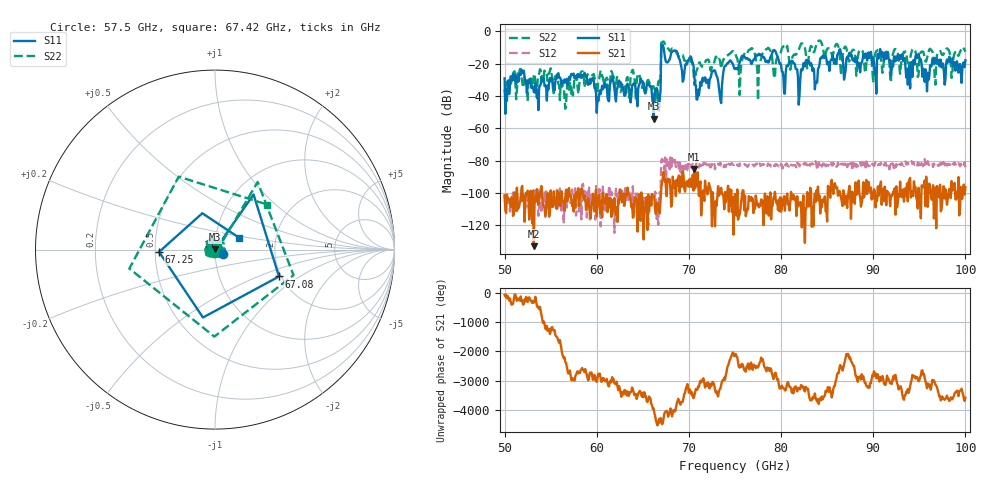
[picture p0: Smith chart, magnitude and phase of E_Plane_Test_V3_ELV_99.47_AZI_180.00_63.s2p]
! 11/26/2026 4:41:41 PM
! C:\ANRITSUVNA\TEMP\TEMP.S2P
! CHANNEL.1
! TR.MEASUREMENT
! RAW.DATA
# HZ S RI R 50.0
! FREQ.HZ  S11RE  S11IM  S21RE  S21IM  S12RE  S12IM  S22RE  S22IM
!; PortSelection: Port_12
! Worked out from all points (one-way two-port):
!   601 points, 50 GHz to 100 GHz, reference 50 ohm
!   highest |S21| = -85.26 dB at 70.58 GHz (marker M1); lowest = -133.0 dB at 53.17 GHz (marker M2)
!   lowest |S11| = -54.1 dB at 66.17 GHz (marker M3), VSWR 1.00, Z = 50.1 + j0.144 ohm
!   |S11| at or under -10 dB: start of sweep to 67 GHz; 67.24 GHz to end of sweep
!   |S22| runs from -47.8 to -5.6 dB; largest |S21 - S12| = 0.00015
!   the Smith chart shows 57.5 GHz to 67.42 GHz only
!   S11 on the Smith chart (normalised r, x): 57.5 GHz: 1.09, -0.05; 67.08 GHz: 1.95, -0.69; 67.25 GHz: 0.52, -0.01; 67.42 GHz: 1.29, +0.18
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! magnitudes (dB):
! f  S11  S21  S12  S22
! 50 GHz  -29.0  -101.5  -101.7  -35.8
! 53.17 GHz  -37.5  -133.0  -98.3  -27.5
! 57.5 GHz  -26.2  -111.6  -108.6  -34.7
! 58.42 GHz  -27.1  -97.7  -95.1  -24.7
! 60.17 GHz  -43.1  -103.0  -109.6  -30.4
! 66.17 GHz  -54.1  -101.9  -104.8  -34.0
! 66.67 GHz  -41.4  -111.0  -119.8  -31.6
! 67.08 GHz  -8.3  -93.7  -78.9  -6.7
! 67.25 GHz  -10.1  -87.0  -81.7  -6.2
! 67.42 GHz  -16.6  -93.3  -78.1  -8.3
! 70.58 GHz  -27.3  -85.3  -82.3  -32.9
! 73.42 GHz  -42.3  -97.6  -81.3  -19.7
! 74.08 GHz  -20.4  -103.0  -82.4  -14.9
! 75 GHz  -23.3  -100.7  -81.7  -13.0
! 79.25 GHz  -11.5  -102.7  -83.5  -28.9
! 80.25 GHz  -28.0  -103.5  -82.5  -9.3
! 83.42 GHz  -24.6  -109.0  -82.1  -10.8
! 91.67 GHz  -16.8  -100.1  -81.8  -15.2
! 93.75 GHz  -32.9  -105.2  -81.2  -21.3
! 94.83 GHz  -14.9  -109.7  -81.1  -28.2
! 95.83 GHz  -37.1  -98.9  -83.2  -16.6
! 100 GHz  -17.8  -96.6  -84.2  -12.6
